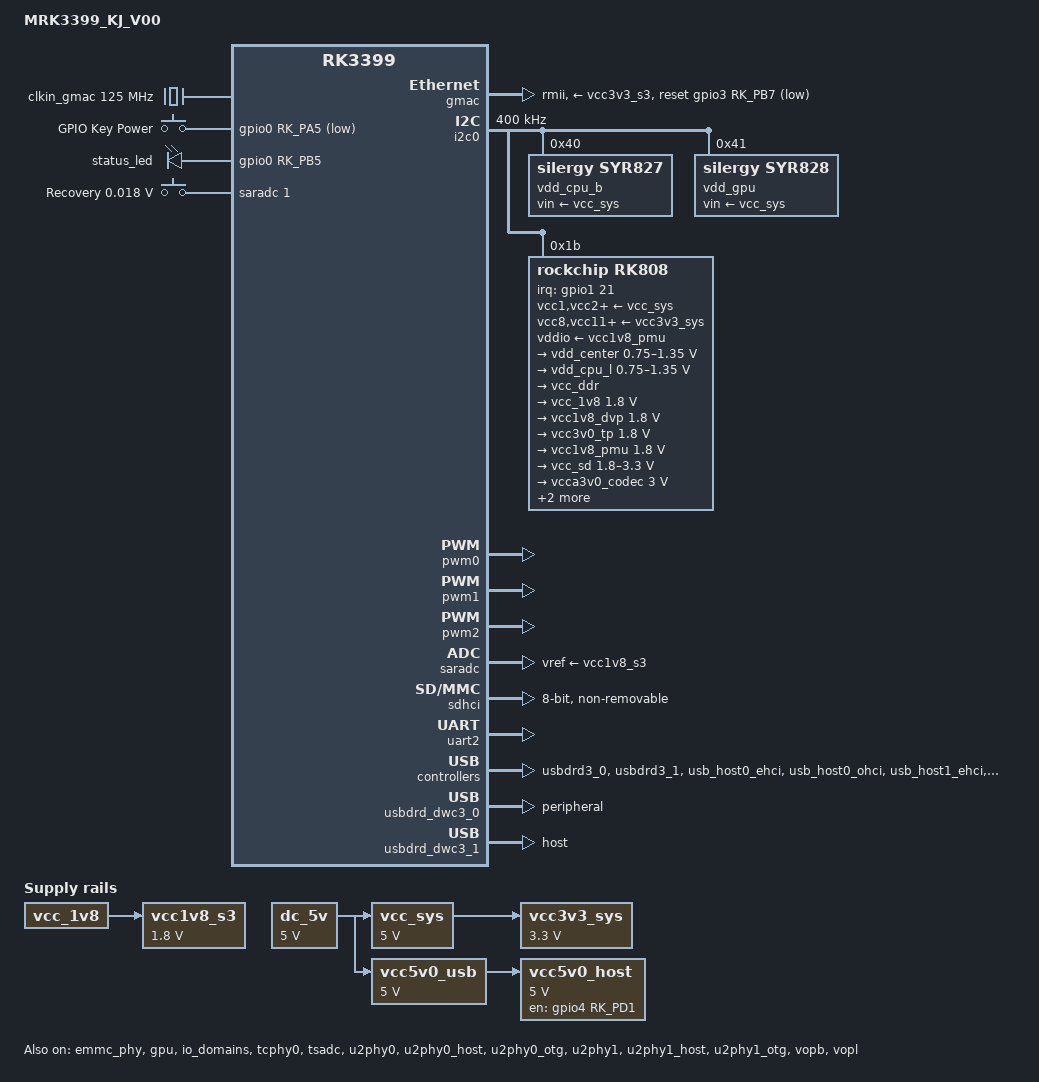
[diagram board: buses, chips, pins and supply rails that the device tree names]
// SPDX-License-Identifier: (GPL-2.0+ OR MIT)
/*
 * MRK3399: RK3399, 4 GB LPDDR4, eMMC, 2x USB host, 100M RMII ethernet.
 * Derived from the Rock Pi 4 design (same RK808 / SYR827 / SYR828 power tree).
 *
 * Ported from the Home Assistant OS port (kernel 6.6). This copy targets
 * kernel 6.18: rk3399.dtsi now carries the OPP tables, so rk3399-opp.dtsi
 * is no longer included.
 */

/dts-v1/;
#include <dt-bindings/input/linux-event-codes.h>
#include "rk3399.dtsi"

/ {
	model = "MRK3399_KJ_V00";
	compatible = "mrk,mrk3399", "rockchip,rk3399";

	aliases {
		mmc0 = &sdhci;
	};

	chosen {
		stdout-path = "serial2:1500000n8";
	};

	clkin_gmac: external-gmac-clock {
		compatible = "fixed-clock";
		clock-frequency = <125000000>;
		clock-output-names = "clkin_gmac";
		#clock-cells = <0>;
	};

	dc_5v: dc-5v {
		compatible = "regulator-fixed";
		regulator-always-on;
		regulator-boot-on;
		regulator-min-microvolt = <5000000>;
		regulator-max-microvolt = <5000000>;
		regulator-name = "dc_5v";
	};

	vcc_sys: vcc-sys {
		compatible = "regulator-fixed";
		regulator-always-on;
		regulator-boot-on;
		regulator-min-microvolt = <5000000>;
		regulator-max-microvolt = <5000000>;
		regulator-name = "vcc_sys";
		vin-supply = <&dc_5v>;
	};

	vcc3v3_sys: vcc3v3-sys {
		compatible = "regulator-fixed";
		regulator-name = "vcc3v3_sys";
		regulator-min-microvolt = <3300000>;
		regulator-max-microvolt = <3300000>;
		regulator-always-on;
		regulator-boot-on;
		vin-supply = <&vcc_sys>;
	};

	vcc5v0_usb: vcc5v0-usb {
		compatible = "regulator-fixed";
		regulator-name = "vcc5v0_usb";
		regulator-always-on;
		regulator-boot-on;
		regulator-min-microvolt = <5000000>;
		regulator-max-microvolt = <5000000>;
		vin-supply = <&dc_5v>;
	};

	/*
	 * USB host VBUS switch on GPIO4_D1, driven high to enable (same pin as
	 * Rock Pi 4). The kernel ignores the GPIO flag when enable-active-high
	 * is present, so the flag is kept consistent with it here.
	 */
	vcc5v0_host: vcc5v0-host-regulator {
		compatible = "regulator-fixed";
		enable-active-high;
		gpio = <&gpio4 RK_PD1 GPIO_ACTIVE_HIGH>;
		pinctrl-names = "default";
		pinctrl-0 = <&vcc5v0_host_en>;
		regulator-name = "vcc5v0_host";
		regulator-min-microvolt = <5000000>;
		regulator-max-microvolt = <5000000>;
		regulator-always-on;
		vin-supply = <&vcc5v0_usb>;
	};

	/* switched by pmic_sleep */
	vcc1v8_s3: vcc1v8-s3 {
		compatible = "regulator-fixed";
		regulator-always-on;
		regulator-boot-on;
		regulator-min-microvolt = <1800000>;
		regulator-max-microvolt = <1800000>;
		regulator-name = "vcc1v8_s3";
		vin-supply = <&vcc_1v8>;
	};

	gpio-keys {
		compatible = "gpio-keys";
		autorepeat;
		pinctrl-names = "default";
		pinctrl-0 = <&power_key>;

		key-power {
			debounce-interval = <100>;
			gpios = <&gpio0 RK_PA5 GPIO_ACTIVE_LOW>;
			label = "GPIO Key Power";
			linux,code = <KEY_POWER>;
			wakeup-source;
		};
	};

	leds: gpio-leds {
		compatible = "gpio-leds";
		pinctrl-names = "default";
		pinctrl-0 = <&status_led_pin>;

		status_led: led-0 {
			gpios = <&gpio0 RK_PB5 GPIO_ACTIVE_HIGH>;
			label = "status_led";
			linux,default-trigger = "heartbeat";
		};
	};

	adc-keys {
		compatible = "adc-keys";
		io-channels = <&saradc 1>;
		io-channel-names = "buttons";
		keyup-threshold-microvolt = <1800000>;
		poll-interval = <100>;

		button-recovery {
			label = "Recovery";
			linux,code = <KEY_VENDOR>;
			press-threshold-microvolt = <18000>;
		};
	};
};

&cpu_b0 {
	cpu-supply = <&vdd_cpu_b>;
};

&cpu_b1 {
	cpu-supply = <&vdd_cpu_b>;
};

&cpu_l0 {
	cpu-supply = <&vdd_cpu_l>;
};

&cpu_l1 {
	cpu-supply = <&vdd_cpu_l>;
};

&cpu_l2 {
	cpu-supply = <&vdd_cpu_l>;
};

&cpu_l3 {
	cpu-supply = <&vdd_cpu_l>;
};

&emmc_phy {
	rockchip,enable-strobe-pulldown;
	status = "okay";
};

&gmac {
	assigned-clock-parents = <&clkin_gmac>;
	assigned-clocks = <&cru SCLK_RMII_SRC>;
	assigned-clock-rates = <50000000>;
	clock_in_out = "output";
	pinctrl-names = "default";
	pinctrl-0 = <&rmii_pins>;
	phy-mode = "rmii";
	phy-supply = <&vcc3v3_s3>;
	snps,reset-gpio = <&gpio3 RK_PB7 GPIO_ACTIVE_LOW>;
	snps,reset-active-low;
	snps,reset-delays-us = <0 10000 50000>;
	status = "okay";
};

&gpu {
	mali-supply = <&vdd_gpu>;
	status = "okay";
};

&hdmi {
	status = "disabled";
};

&hdmi_sound {
	status = "disabled";
};

&i2c0 {
	clock-frequency = <400000>;
	i2c-scl-rising-time-ns = <160>;
	i2c-scl-falling-time-ns = <30>;
	status = "okay";

	vdd_cpu_b: regulator@40 {
		compatible = "silergy,syr827";
		reg = <0x40>;
		fcs,suspend-voltage-selector = <1>;
		pinctrl-names = "default";
		pinctrl-0 = <&cpu_b_sleep>;
		regulator-always-on;
		regulator-boot-on;
		regulator-min-microvolt = <712500>;
		regulator-max-microvolt = <1500000>;
		regulator-name = "vdd_cpu_b";
		regulator-ramp-delay = <1000>;
		vin-supply = <&vcc_sys>;

		regulator-state-mem {
			regulator-off-in-suspend;
		};
	};

	vdd_gpu: regulator@41 {
		compatible = "silergy,syr828";
		reg = <0x41>;
		fcs,suspend-voltage-selector = <1>;
		pinctrl-names = "default";
		pinctrl-0 = <&gpu_sleep>;
		regulator-always-on;
		regulator-boot-on;
		regulator-min-microvolt = <712500>;
		regulator-max-microvolt = <1500000>;
		regulator-name = "vdd_gpu";
		regulator-ramp-delay = <1000>;
		vin-supply = <&vcc_sys>;

		regulator-state-mem {
			regulator-off-in-suspend;
		};
	};

	rk808: pmic@1b {
		compatible = "rockchip,rk808";
		reg = <0x1b>;
		clock-output-names = "xin32k", "rk808-clkout2";
		#clock-cells = <1>;
		interrupt-parent = <&gpio1>;
		interrupts = <21 IRQ_TYPE_LEVEL_LOW>;
		pinctrl-names = "default";
		pinctrl-0 = <&pmic_int_l &pmic_dvs2>;
		rockchip,system-power-controller;
		wakeup-source;

		vcc1-supply = <&vcc_sys>;
		vcc2-supply = <&vcc_sys>;
		vcc3-supply = <&vcc_sys>;
		vcc4-supply = <&vcc_sys>;
		vcc6-supply = <&vcc_sys>;
		vcc7-supply = <&vcc_sys>;
		vcc8-supply = <&vcc3v3_sys>;
		vcc9-supply = <&vcc_sys>;
		vcc10-supply = <&vcc_sys>;
		vcc11-supply = <&vcc3v3_sys>;
		vcc12-supply = <&vcc3v3_sys>;
		vddio-supply = <&vcc1v8_pmu>;

		regulators {
			vdd_center: DCDC_REG1 {
				regulator-always-on;
				regulator-boot-on;
				regulator-min-microvolt = <750000>;
				regulator-max-microvolt = <1350000>;
				regulator-name = "vdd_center";
				regulator-ramp-delay = <6001>;

				regulator-state-mem {
					regulator-off-in-suspend;
				};
			};

			vdd_cpu_l: DCDC_REG2 {
				regulator-always-on;
				regulator-boot-on;
				regulator-min-microvolt = <750000>;
				regulator-max-microvolt = <1350000>;
				regulator-name = "vdd_cpu_l";
				regulator-ramp-delay = <6001>;

				regulator-state-mem {
					regulator-off-in-suspend;
				};
			};

			vcc_ddr: DCDC_REG3 {
				regulator-always-on;
				regulator-boot-on;
				regulator-name = "vcc_ddr";

				regulator-state-mem {
					regulator-on-in-suspend;
				};
			};

			vcc_1v8: DCDC_REG4 {
				regulator-always-on;
				regulator-boot-on;
				regulator-min-microvolt = <1800000>;
				regulator-max-microvolt = <1800000>;
				regulator-name = "vcc_1v8";

				regulator-state-mem {
					regulator-on-in-suspend;
					regulator-suspend-microvolt = <1800000>;
				};
			};

			vcc1v8_dvp: LDO_REG1 {
				regulator-always-on;
				regulator-boot-on;
				regulator-min-microvolt = <1800000>;
				regulator-max-microvolt = <1800000>;
				regulator-name = "vcc1v8_dvp";

				regulator-state-mem {
					regulator-off-in-suspend;
				};
			};

			vcc3v0_tp: LDO_REG2 {
				regulator-always-on;
				regulator-boot-on;
				regulator-min-microvolt = <1800000>;
				regulator-max-microvolt = <1800000>;
				regulator-name = "vcc3v0_tp";

				regulator-state-mem {
					regulator-off-in-suspend;
				};
			};

			vcc1v8_pmu: LDO_REG3 {
				regulator-always-on;
				regulator-boot-on;
				regulator-min-microvolt = <1800000>;
				regulator-max-microvolt = <1800000>;
				regulator-name = "vcc1v8_pmu";

				regulator-state-mem {
					regulator-on-in-suspend;
					regulator-suspend-microvolt = <1800000>;
				};
			};

			vcc_sd: LDO_REG4 {
				regulator-always-on;
				regulator-boot-on;
				regulator-min-microvolt = <1800000>;
				regulator-max-microvolt = <3300000>;
				regulator-name = "vcc_sd";

				regulator-state-mem {
					regulator-on-in-suspend;
					regulator-suspend-microvolt = <3000000>;
				};
			};

			vcca3v0_codec: LDO_REG5 {
				regulator-always-on;
				regulator-boot-on;
				regulator-min-microvolt = <3000000>;
				regulator-max-microvolt = <3000000>;
				regulator-name = "vcca3v0_codec";

				regulator-state-mem {
					regulator-off-in-suspend;
				};
			};

			vcc_1v5: LDO_REG6 {
				regulator-always-on;
				regulator-boot-on;
				regulator-min-microvolt = <1500000>;
				regulator-max-microvolt = <1500000>;
				regulator-name = "vcc_1v5";

				regulator-state-mem {
					regulator-on-in-suspend;
					regulator-suspend-microvolt = <1500000>;
				};
			};

			vcca1v8_codec: LDO_REG7 {
				regulator-always-on;
				regulator-boot-on;
				regulator-min-microvolt = <900000>;
				regulator-max-microvolt = <900000>;
				regulator-name = "vcca1v8_codec";

				regulator-state-mem {
					regulator-off-in-suspend;
				};
			};

			vcc_3v0: LDO_REG8 {
				regulator-always-on;
				regulator-boot-on;
				regulator-min-microvolt = <3000000>;
				regulator-max-microvolt = <3000000>;
				regulator-name = "vcc_3v0";

				regulator-state-mem {
					regulator-on-in-suspend;
					regulator-suspend-microvolt = <3000000>;
				};
			};

			vcc3v3_s3: SWITCH_REG1 {
				regulator-always-on;
				regulator-boot-on;
				regulator-name = "vcc3v3_s3";

				regulator-state-mem {
					regulator-off-in-suspend;
				};
			};

			vcc3v3_s0: SWITCH_REG2 {
				regulator-always-on;
				regulator-boot-on;
				regulator-name = "vcc3v3_s0";

				regulator-state-mem {
					regulator-off-in-suspend;
				};
			};
		};
	};
};

&i2c1 {
	status = "disabled";
};

&i2c2 {
	status = "disabled";
};

&i2c4 {
	status = "disabled";
};

&i2c7 {
	status = "disabled";
};

&i2s2 {
	status = "disabled";
};

&io_domains {
	bt656-supply = <&vcc_3v0>;
	audio-supply = <&vcc_1v8>;
	sdmmc-supply = <&vcc_sd>;
	gpio1830-supply = <&vcc_3v0>;
	status = "okay";
};

&pcie_phy {
	status = "disabled";
};

&pcie0 {
	status = "disabled";
};

&pinctrl {
	gpio-leds {
		status_led_pin: status-led-pin {
			rockchip,pins = <0 RK_PB5 RK_FUNC_GPIO &pcfg_pull_none>;
		};
	};

	pmic {
		cpu_b_sleep: cpu-b-sleep {
			rockchip,pins = <1 RK_PC1 RK_FUNC_GPIO &pcfg_pull_down>;
		};

		gpu_sleep: gpu-sleep {
			rockchip,pins = <1 RK_PB6 RK_FUNC_GPIO &pcfg_pull_down>;
		};

		pmic_int_l: pmic-int-l {
			rockchip,pins = <1 RK_PC5 RK_FUNC_GPIO &pcfg_pull_up>;
		};

		pmic_dvs2: pmic-dvs2 {
			rockchip,pins = <1 RK_PC2 RK_FUNC_GPIO &pcfg_pull_down>;
		};
	};

	rockchip-key {
		power_key: power-key {
			rockchip,pins = <0 RK_PA5 RK_FUNC_GPIO &pcfg_pull_up>;
		};
	};

	usb2 {
		vcc5v0_host_en: vcc5v0-host-en {
			rockchip,pins = <4 RK_PD1 RK_FUNC_GPIO &pcfg_pull_none>;
		};
	};
};

&pmu_io_domains {
	pmu1830-supply = <&vcc_1v8>;
	status = "okay";
};

&pwm0 {
	status = "okay";
};

&pwm1 {
	status = "okay";
};

&pwm2 {
	status = "okay";
};

&saradc {
	vref-supply = <&vcc1v8_s3>;
	status = "okay";
};

&sdhci {
	bus-width = <8>;
	mmc-hs200-1_8v;
	non-removable;
	status = "okay";
};

&sdio0 {
	status = "disabled";
};

&sdmmc {
	status = "disabled";
};

&tcphy0 {
	status = "okay";
};

&tcphy1 {
	status = "disabled";
};

&tsadc {
	/* tshut mode 0:CRU 1:GPIO */
	rockchip,hw-tshut-mode = <1>;
	/* tshut polarity 0:LOW 1:HIGH */
	rockchip,hw-tshut-polarity = <1>;
	status = "okay";
};

&u2phy0 {
	status = "okay";
};

&u2phy0_host {
	phy-supply = <&vcc5v0_host>;
	status = "okay";
};

&u2phy0_otg {
	status = "okay";
};

&u2phy1 {
	status = "okay";
};

&u2phy1_host {
	phy-supply = <&vcc5v0_host>;
	status = "okay";
};

&u2phy1_otg {
	status = "okay";
};

&uart0 {
	status = "disabled";
};

&uart2 {
	status = "okay";
};

&usbdrd3_0 {
	status = "okay";
};

/*
 * Controller 0's OTG port is the connector the BootROM uses for maskrom mode,
 * so it is the only port on this SoC that can be a USB device. "peripheral"
 * makes Linux run it as a gadget: see docs/usb-gadget.md.
 *
 * The role must be set here rather than on the PHY: phy-rockchip-inno-usb2
 * reads dr_mode from the controller that references the port
 * (of_usb_get_dr_mode_by_phy) and skips the OTG state machine, the
 * otg-bvalid / otg-id interrupts and the extcon device entirely when it is
 * "host". dwc3 likewise only ever initialises xHCI on "host", even though
 * the kernel is built CONFIG_USB_DWC3_DUAL_ROLE=y.
 *
 * "otg" is not used: the board has no Type-C CC controller and no ID pin
 * routed, so there is nothing to switch roles from, and dwc3_get_extcon()
 * would need an explicit extcon = <&u2phy0> phandle to find the PHY's
 * extcon device.
 */
&usbdrd_dwc3_0 {
	dr_mode = "peripheral";
	status = "okay";
};

&usbdrd3_1 {
	status = "okay";
};

&usbdrd_dwc3_1 {
	dr_mode = "host";
	status = "okay";
};

&usb_host0_ehci {
	status = "okay";
};

&usb_host0_ohci {
	status = "okay";
};

&usb_host1_ehci {
	status = "okay";
};

&usb_host1_ohci {
	status = "okay";
};

&vopb {
	status = "okay";
};

&vopb_mmu {
	status = "okay";
};

&vopl {
	status = "okay";
};

&vopl_mmu {
	status = "okay";
};
